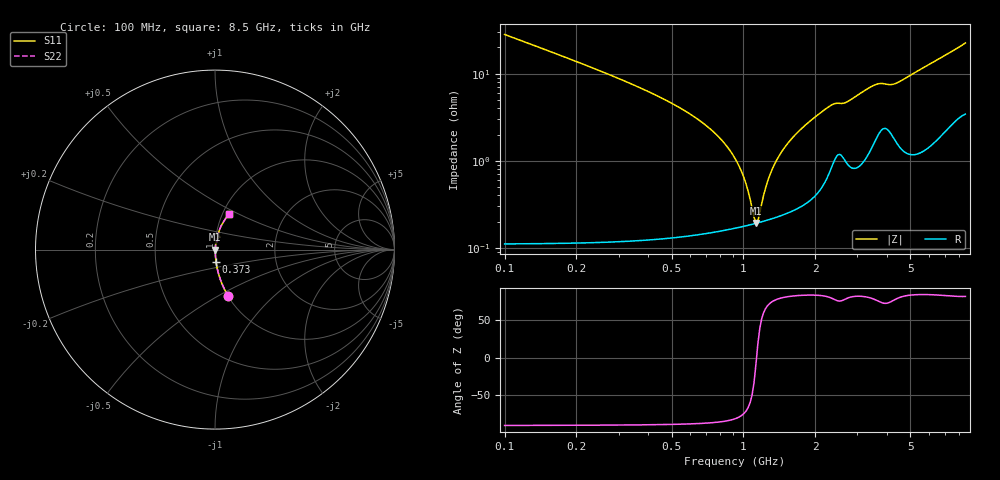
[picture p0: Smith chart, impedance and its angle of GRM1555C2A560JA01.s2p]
!Murata Part Number: GRM1555C2A560JA01
!These Parameters are Measured in Series Mode Connection
!Data Generated on Mar 30, 2021
!  o--ll--o
!Port1  Port2
!  o------o
!Operation Temp=25[degC], DC Bias Voltage=0[V]
!Freq. Start=100[MHz] Stop=9[GHz] 401[Steps]
# Hz S RI R 50
!Freq.(Hz) S11(Real) S11(Imag) S21(Real) S21(Imag) S12(Real) S12(Imag) S22(Real) S22(Imag)
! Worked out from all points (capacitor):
!   401 points, 100 MHz to 8.5 GHz, reference 50 ohm
!   read as one part in series: C = 56 pF near 142 MHz
!   lowest |Z| = 193 mohm at 1.129 GHz (marker M1)
!   series resonance near 1.135 GHz, so ESL is about 350 pH
!   S11 on the Smith chart (normalised r, x): 100 MHz: 1.00, -0.56; 373 MHz: 1.00, -0.14; 8.5 GHz: 1.07, +0.45
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1e8  0.0745 -0.2607  0.9255 0.2607  0.9255 0.2607  0.0745 -0.2607
2.26e8  0.0155 -0.1188  0.9845 0.1188  0.9845 0.1188  0.0155 -0.1188
3.73e8  0.00579 -0.0675  0.9942 0.0675  0.9942 0.0675  0.00579 -0.0675
7.3e8  0.002 -0.0228  0.998 0.0228  0.998 0.0228  0.002 -0.0228
8.77e8  0.0018 -0.013  0.9982 0.013  0.9982 0.013  0.0018 -0.013
9.82e8  0.00179 -0.00728  0.9982 0.00728  0.9982 0.00728  0.00179 -0.00728
1.024e9  0.00181 -0.00517  0.9982 0.00517  0.9982 0.00517  0.00181 -0.00517
1.087e9  0.00186 -0.00216  0.9981 0.00216  0.9981 0.00216  0.00186 -0.00216
1.129e9  0.00191 -0.000257  0.9981 0.000257  0.9981 0.000257  0.00191 -0.000257
1.171e9  0.00196 0.00158  0.998 -0.00158  0.998 -0.00158  0.00196 0.00158
1.255e9  0.00209 0.00509  0.9979 -0.00509  0.9979 -0.00509  0.00209 0.00509
1.318e9  0.00221 0.00759  0.9978 -0.00759  0.9978 -0.00759  0.00221 0.00759
1.402e9  0.0024 0.0108  0.9976 -0.0108  0.9976 -0.0108  0.0024 0.0108
1.507e9  0.00267 0.0146  0.9973 -0.0146  0.9973 -0.0146  0.00267 0.0146
1.78e9  0.00365 0.0241  0.9964 -0.0241  0.9964 -0.0241  0.00365 0.0241
2.2e9  0.00717 0.0381  0.9928 -0.0381  0.9928 -0.0381  0.00717 0.0381
2.914e9  0.0108 0.052  0.9892 -0.052  0.9892 -0.052  0.0108 0.052
3.586e9  0.0223 0.0702  0.9777 -0.0702  0.9777 -0.0702  0.0223 0.0702
4.3e9  0.0223 0.0716  0.9777 -0.0716  0.9777 -0.0716  0.0223 0.0716
5.707e9  0.026 0.1132  0.974 -0.1132  0.974 -0.1132  0.026 0.1132
7.114e9  0.0472 0.1543  0.9528 -0.1543  0.9528 -0.1543  0.0472 0.1543
8.5e9  0.0761 0.1991  0.9239 -0.1991  0.9239 -0.1991  0.0761 0.1991
